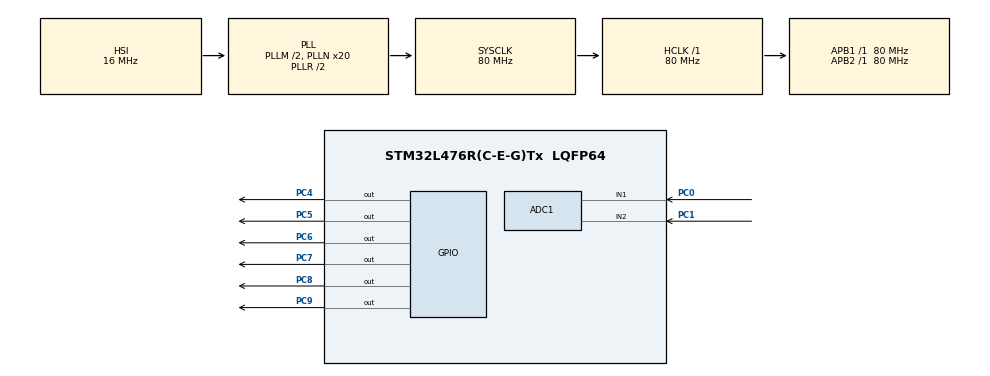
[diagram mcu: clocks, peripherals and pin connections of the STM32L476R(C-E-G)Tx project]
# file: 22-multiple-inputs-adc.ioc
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ADC1.Channel-2\#ChannelRegularConversion=ADC_CHANNEL_1
ADC1.Channel-3\#ChannelRegularConversion=ADC_CHANNEL_2
ADC1.ContinuousConvMode=ENABLE
ADC1.EOCSelection=ADC_EOC_SINGLE_CONV
ADC1.EnableRegularConversion=ENABLE
ADC1.NbrOfConversion=2
ADC1.NbrOfConversionFlag=1
ADC1.OffsetNumber-2\#ChannelRegularConversion=ADC_OFFSET_NONE
ADC1.OffsetNumber-3\#ChannelRegularConversion=ADC_OFFSET_NONE
ADC1.Overrun=ADC_OVR_DATA_OVERWRITTEN
ADC1.OversamplingMode=DISABLE
ADC1.Rank-2\#ChannelRegularConversion=1
ADC1.Rank-3\#ChannelRegularConversion=2
ADC1.SamplingTime-2\#ChannelRegularConversion=ADC_SAMPLETIME_2CYCLES_5
ADC1.SamplingTime-3\#ChannelRegularConversion=ADC_SAMPLETIME_2CYCLES_5
ADC1.master=1
Mcu.Family=STM32L4
Mcu.Name=STM32L476R(C-E-G)Tx
Mcu.Package=LQFP64
NVIC.PriorityGroup=NVIC_PRIORITYGROUP_4
PC0.Signal=ADCx_IN1
PC1.Signal=ADCx_IN2
PC4.Signal=GPIO_Output
PC5.Signal=GPIO_Output
PC6.Signal=GPIO_Output
PC7.Signal=GPIO_Output
PC8.Signal=GPIO_Output
PC9.Signal=GPIO_Output
ProjectManager.HeapSize=0x200
ProjectManager.StackSize=0x400
ProjectManager.TargetToolchain=STM32CubeIDE
RCC.ADCFreq_Value=32000000
RCC.AHBFreq_Value=80000000
RCC.APB1Freq_Value=80000000
RCC.APB1TimFreq_Value=80000000
RCC.APB2Freq_Value=80000000
RCC.APB2TimFreq_Value=80000000
RCC.CortexFreq_Value=80000000
RCC.HCLKFreq_Value=80000000
RCC.HSE_VALUE=8000000
RCC.HSI_VALUE=16000000
RCC.MSI_VALUE=4000000
RCC.PLLM=2
RCC.PLLN=20
RCC.PLLSourceVirtual=RCC_PLLSOURCE_HSI
RCC.PREFETCH_ENABLE=1
RCC.SYSCLKFreq_VALUE=80000000
RCC.SYSCLKSource=RCC_SYSCLKSOURCE_PLLCLK
RCC.USBFreq_Value=32000000
RCC.VCOOutputFreq_Value=160000000
SH.ADCx_IN1.0=ADC1_IN1,IN1-Single-Ended
SH.ADCx_IN2.0=ADC1_IN2,IN2-Single-Ended
board=NUCLEO-L476RG

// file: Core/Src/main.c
/* USER CODE BEGIN Header */
/**
  ******************************************************************************
  * @file           : main.c
  * @brief          : Main program body
  ******************************************************************************
  * @attention
  *
  * Copyright (c) 2025 STMicroelectronics.
  * All rights reserved.
  *
  * This software is licensed under terms that can be found in the LICENSE file
  * in the root directory of this software component.
  * If no LICENSE file comes with this software, it is provided AS-IS.
  *
  ******************************************************************************
  */
/* USER CODE END Header */
#include "main.h"

/* USER CODE BEGIN Includes */
#include "lcd.h"
#include "stdio.h"
/* USER CODE END Includes */

ADC_HandleTypeDef hadc1;

void SystemClock_Config(void);
static void MX_GPIO_Init(void);
static void MX_ADC1_Init(void);

int main(void)
{

  /* MCU Configuration--------------------------------------------------------*/

  /* Reset of all peripherals, Initializes the Flash interface and the Systick. */
  HAL_Init();

  /* Configure the system clock */
  SystemClock_Config();

  /* Initialize all configured peripherals */
  MX_GPIO_Init();
  MX_ADC1_Init();
  /* USER CODE BEGIN 2 */
  uint32_t ADCResult1=0, ADCResult2=0;    //ADC result values
  float millivolts;    //millivolts
  char buff[10];    //string buffer
  LCD_initial();
  /* USER CODE END 2 */

  /* Infinite loop */
  /* USER CODE BEGIN WHILE */
  while (1)
  {
    HAL_ADC_Start(&hadc1);    //start ADC
    HAL_ADC_PollForConversion(&hadc1, 100);    //poll and conversion
    ADCResult1 = HAL_ADC_GetValue(&hadc1);    //channel 1

    HAL_ADC_PollForConversion(&hadc1, 100);    //poll and conversion
    ADCResult2 = HAL_ADC_GetValue(&hadc1);    //channel 2
    HAL_ADC_Stop(&hadc1);    //stop ADC

    LCD_Clear();    //clear LCD

    millivolts = ((float)ADCResult1) * 3300.0 / 4095.0;    //12-bit to millivolts conversion
    sprintf(buff, "%7.2f", millivolts);
    LCD_GoTo_Position(0, 0);    //go to lcd position
    LCD_Puts(buff);    //display values on LCD

    millivolts = ((float)ADCResult2) * 3300.0 / 4095.0;    //12-bit to millivolts conversion
    sprintf(buff, "%7.2f", millivolts);
    LCD_GoTo_Position(1, 0);    //go to lcd position
    LCD_Puts(buff);    //display values on LCD

    HAL_Delay(500);    //delay
    /* USER CODE END WHILE */

  }
}

void SystemClock_Config(void)
{
  RCC_OscInitTypeDef RCC_OscInitStruct = {0};
  RCC_ClkInitTypeDef RCC_ClkInitStruct = {0};

  /** Configure the main internal regulator output voltage
  */
  if (HAL_PWREx_ControlVoltageScaling(PWR_REGULATOR_VOLTAGE_SCALE1) != HAL_OK)
  {
    Error_Handler();
  }

  /** Initializes the RCC Oscillators according to the specified parameters
  * in the RCC_OscInitTypeDef structure.
  */
  RCC_OscInitStruct.OscillatorType = RCC_OSCILLATORTYPE_HSI;
  RCC_OscInitStruct.HSIState = RCC_HSI_ON;
  RCC_OscInitStruct.HSICalibrationValue = RCC_HSICALIBRATION_DEFAULT;
  RCC_OscInitStruct.PLL.PLLState = RCC_PLL_ON;
  RCC_OscInitStruct.PLL.PLLSource = RCC_PLLSOURCE_HSI;
  RCC_OscInitStruct.PLL.PLLM = 2;
  RCC_OscInitStruct.PLL.PLLN = 20;
  RCC_OscInitStruct.PLL.PLLP = RCC_PLLP_DIV7;
  RCC_OscInitStruct.PLL.PLLQ = RCC_PLLQ_DIV2;
  RCC_OscInitStruct.PLL.PLLR = RCC_PLLR_DIV2;
  if (HAL_RCC_OscConfig(&RCC_OscInitStruct) != HAL_OK)
  {
    Error_Handler();
  }

  /** Initializes the CPU, AHB and APB buses clocks
  */
  RCC_ClkInitStruct.ClockType = RCC_CLOCKTYPE_HCLK|RCC_CLOCKTYPE_SYSCLK
                              |RCC_CLOCKTYPE_PCLK1|RCC_CLOCKTYPE_PCLK2;
  RCC_ClkInitStruct.SYSCLKSource = RCC_SYSCLKSOURCE_PLLCLK;
  RCC_ClkInitStruct.AHBCLKDivider = RCC_SYSCLK_DIV1;
  RCC_ClkInitStruct.APB1CLKDivider = RCC_HCLK_DIV1;
  RCC_ClkInitStruct.APB2CLKDivider = RCC_HCLK_DIV1;

  if (HAL_RCC_ClockConfig(&RCC_ClkInitStruct, FLASH_LATENCY_4) != HAL_OK)
  {
    Error_Handler();
  }
}

static void MX_ADC1_Init(void)
{

  ADC_MultiModeTypeDef multimode = {0};
  ADC_ChannelConfTypeDef sConfig = {0};

  /** Common config
  */
  hadc1.Instance = ADC1;
  hadc1.Init.ClockPrescaler = ADC_CLOCK_ASYNC_DIV1;
  hadc1.Init.Resolution = ADC_RESOLUTION_12B;
  hadc1.Init.DataAlign = ADC_DATAALIGN_RIGHT;
  hadc1.Init.ScanConvMode = ADC_SCAN_ENABLE;
  hadc1.Init.EOCSelection = ADC_EOC_SINGLE_CONV;
  hadc1.Init.LowPowerAutoWait = DISABLE;
  hadc1.Init.ContinuousConvMode = ENABLE;
  hadc1.Init.NbrOfConversion = 2;
  hadc1.Init.DiscontinuousConvMode = DISABLE;
  hadc1.Init.ExternalTrigConv = ADC_SOFTWARE_START;
  hadc1.Init.ExternalTrigConvEdge = ADC_EXTERNALTRIGCONVEDGE_NONE;
  hadc1.Init.DMAContinuousRequests = DISABLE;
  hadc1.Init.Overrun = ADC_OVR_DATA_OVERWRITTEN;
  hadc1.Init.OversamplingMode = DISABLE;
  if (HAL_ADC_Init(&hadc1) != HAL_OK)
  {
    Error_Handler();
  }

  /** Configure the ADC multi-mode
  */
  multimode.Mode = ADC_MODE_INDEPENDENT;
  if (HAL_ADCEx_MultiModeConfigChannel(&hadc1, &multimode) != HAL_OK)
  {
    Error_Handler();
  }

  /** Configure Regular Channel
  */
  sConfig.Channel = ADC_CHANNEL_1;
  sConfig.Rank = ADC_REGULAR_RANK_1;
  sConfig.SamplingTime = ADC_SAMPLETIME_2CYCLES_5;
  sConfig.SingleDiff = ADC_SINGLE_ENDED;
  sConfig.OffsetNumber = ADC_OFFSET_NONE;
  sConfig.Offset = 0;
  if (HAL_ADC_ConfigChannel(&hadc1, &sConfig) != HAL_OK)
  {
    Error_Handler();
  }

  /** Configure Regular Channel
  */
  sConfig.Channel = ADC_CHANNEL_2;
  sConfig.Rank = ADC_REGULAR_RANK_2;
  if (HAL_ADC_ConfigChannel(&hadc1, &sConfig) != HAL_OK)
  {
    Error_Handler();
  }

}

static void MX_GPIO_Init(void)
{
  GPIO_InitTypeDef GPIO_InitStruct = {0};

  /* GPIO Ports Clock Enable */
  __HAL_RCC_GPIOC_CLK_ENABLE();

  /*Configure GPIO pin Output Level */
  HAL_GPIO_WritePin(GPIOC, GPIO_PIN_4|GPIO_PIN_5|GPIO_PIN_6|GPIO_PIN_7
                          |GPIO_PIN_8|GPIO_PIN_9, GPIO_PIN_RESET);

  /*Configure GPIO pins : PC4 PC5 PC6 PC7
                           PC8 PC9 */
  GPIO_InitStruct.Pin = GPIO_PIN_4|GPIO_PIN_5|GPIO_PIN_6|GPIO_PIN_7
                          |GPIO_PIN_8|GPIO_PIN_9;
  GPIO_InitStruct.Mode = GPIO_MODE_OUTPUT_PP;
  GPIO_InitStruct.Pull = GPIO_NOPULL;
  GPIO_InitStruct.Speed = GPIO_SPEED_FREQ_LOW;
  HAL_GPIO_Init(GPIOC, &GPIO_InitStruct);

}

void Error_Handler(void)
{
  __disable_irq();
  while (1)
  {
  }
}
